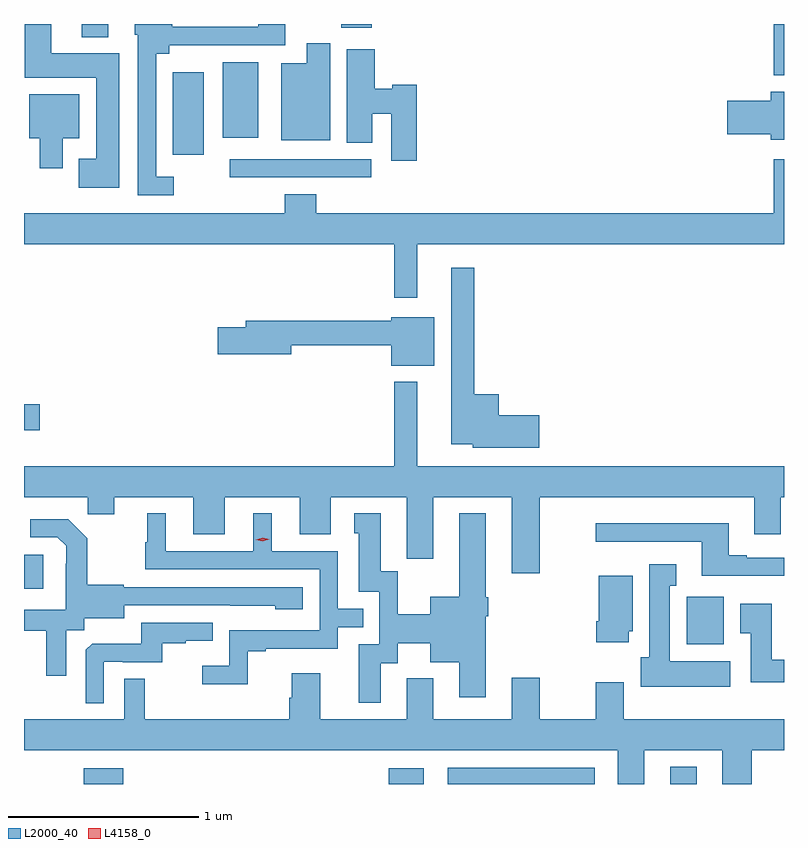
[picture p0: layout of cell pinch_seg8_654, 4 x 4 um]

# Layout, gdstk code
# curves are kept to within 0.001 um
import gdstk
lib = gdstk.Library(unit=1e-6, precision=1e-09)
def R(c, l, rs):  # rectangles x0, y0, x1, y1
    for r in rs: c.add(gdstk.rectangle(r[:2], r[2:], *l))
def P(c, l, *ps):  # polygons
    for p in ps: c.add(gdstk.Polygon(p, *l))
L2000_40 = (2000, 40)
L4158_0 = (4158, 0)

pinch_seg8_654 = lib.new_cell('pinch_seg8_654')
R(pinch_seg8_654, L2000_40, [(336.903,1117.655,337.112,1117.737), (338.51,1117.655,338.692,1117.738), (338.82,1117.655,339.592,1117.74), (339.989,1117.655,340.129,1117.747), (340.077,1118.39,340.273,1118.64), (336.589,1118.682,336.691,1118.862), (336.589,1119.518,336.673,1119.653), (337.671,1120.848,338.416,1120.944), (337.373,1120.968,337.534,1121.401), (337.634,1121.057,337.822,1121.455), (340.536,1121.384,340.589,1121.655), (336.893,1121.585,337.033,1121.655), (338.26,1121.634,338.42,1121.655)])
P(pinch_seg8_654, L2000_40, [(337.09,1121.5),(336.733,1121.5),(336.733,1121.655),(336.593,1121.655),(336.593,1121.372),(336.968,1121.372),(336.968,1120.945),(336.878,1120.945),(336.878,1120.793),(337.09,1120.793)],
  [(337.378,1120.851),(337.284,1120.851),(337.284,1121.498),(337.354,1121.498),(337.354,1121.544),(337.963,1121.544),(337.963,1121.655),(337.823,1121.655),(337.823,1121.64),(337.369,1121.64),(337.369,1121.655),(337.172,1121.655),(337.172,1121.598),(337.188,1121.598),(337.188,1120.755),(337.378,1120.755)],
  [(338.2,1121.554),(338.078,1121.554),(338.078,1121.449),(337.943,1121.449),(337.943,1121.042),(338.2,1121.042)],
  [(338.657,1121.336),(338.526,1121.336),(338.526,1121.313),(338.435,1121.313),(338.435,1121.521),(338.288,1121.521),(338.288,1121.029),(338.422,1121.029),(338.422,1121.183),(338.522,1121.183),(338.522,1120.935),(338.657,1120.935)],
  [(340.589,1121.299),(340.52,1121.299),(340.52,1121.252),(340.29,1121.252),(340.29,1121.074),(340.52,1121.074),(340.52,1121.045),(340.589,1121.045)],
  [(336.793,1121.054),(336.88,1121.054),(336.88,1121.284),(336.617,1121.284),(336.617,1121.054),(336.671,1121.054),(336.671,1120.896),(336.793,1120.896)],
  [(338.659,1120.496),(340.589,1120.496),(340.589,1120.942),(340.536,1120.942),(340.536,1120.66),(338.126,1120.66),(338.126,1120.759),(337.961,1120.759),(337.961,1120.66),(336.589,1120.66),(336.589,1120.496),(338.538,1120.496),(338.538,1120.215),(338.659,1120.215)],
  [(339.301,1119.596),(339.088,1119.596),(339.088,1119.706),(338.959,1119.706),(338.959,1120.372),(338.837,1120.372),(338.837,1119.443),(338.952,1119.443),(338.952,1119.425),(339.301,1119.425)],
  [(338.749,1120.111),(338.522,1120.111),(338.522,1120.093),(337.757,1120.093),(337.757,1120.059),(337.608,1120.059),(337.608,1119.917),(337.996,1119.917),(337.996,1119.964),(338.522,1119.964),(338.522,1119.857),(338.749,1119.857)],
  [(339.303,1119.164),(340.433,1119.164),(340.433,1118.97),(340.573,1118.97),(340.573,1119.164),(340.589,1119.164),(340.589,1119.328),(338.659,1119.328),(338.659,1119.772),(338.538,1119.772),(338.538,1119.328),(336.589,1119.328),(336.589,1119.164),(336.925,1119.164),(336.925,1119.074),(337.063,1119.074),(337.063,1119.164),(337.481,1119.164),(337.481,1118.97),(337.645,1118.97),(337.645,1119.164),(338.039,1119.164),(338.039,1118.97),(338.203,1118.97),(338.203,1119.164),(338.603,1119.164),(338.603,1118.953),(338.604,1118.953),(338.604,1118.841),(338.743,1118.841),(338.743,1119.164),(339.155,1119.164),(339.155,1118.763),(339.303,1118.763)],
  [(338.467,1118.29),(338.557,1118.29),(338.557,1118.396),(338.726,1118.396),(338.726,1118.297),(338.879,1118.297),(338.879,1118.112),(339.019,1118.112),(339.019,1118.537),(339.032,1118.537),(339.032,1118.637),(339.019,1118.637),(339.019,1119.079),(338.879,1119.079),(338.879,1118.641),(338.726,1118.641),(338.726,1118.548),(338.556,1118.548),(338.556,1118.775),(338.467,1118.775),(338.467,1119.079),(338.327,1119.079),(338.327,1118.976),(338.351,1118.976),(338.351,1118.667),(338.46,1118.667),(338.46,1118.391),(338.351,1118.391),(338.351,1118.082),(338.467,1118.082)],
  [(337.767,1118.355),(337.861,1118.355),(337.861,1118.367),(338.241,1118.367),(338.241,1118.481),(338.375,1118.481),(338.375,1118.577),(338.241,1118.577),(338.241,1118.88),(337.894,1118.88),(337.894,1119.079),(337.796,1119.079),(337.796,1118.88),(337.336,1118.88),(337.336,1119.079),(337.238,1119.079),(337.238,1118.928),(337.227,1118.928),(337.227,1118.784),(338.145,1118.784),(338.145,1118.463),(337.668,1118.463),(337.668,1118.278),(337.527,1118.278),(337.527,1118.18),(337.767,1118.18)],
  [(336.811,1118.464),(336.906,1118.464),(336.906,1118.528),(337.117,1118.528),(337.117,1118.595),(337.911,1118.594),(337.911,1118.576),(338.056,1118.576),(338.056,1118.691),(337.113,1118.691),(337.113,1118.704),(336.921,1118.704),(336.921,1118.949),(336.821,1119.049),(336.621,1119.049),(336.621,1118.955),(336.765,1118.955),(336.812,1118.908),(336.812,1118.813),(336.81,1118.813),(336.81,1118.572),(336.589,1118.572),(336.589,1118.462),(336.707,1118.462),(336.707,1118.226),(336.811,1118.226)],
  [(340.589,1118.847),(340.393,1118.847),(340.393,1118.86),(340.297,1118.86),(340.297,1119.028),(339.597,1119.028),(339.597,1118.931),(340.157,1118.931),(340.157,1118.75),(340.589,1118.75)],
  [(340.306,1118.302),(339.988,1118.302),(339.988,1118.699),(340.021,1118.699),(340.021,1118.812),(339.881,1118.812),(339.881,1118.322),(339.836,1118.322),(339.836,1118.168),(340.306,1118.168)],
  [(339.772,1118.46),(339.793,1118.46),(339.793,1118.752),(339.614,1118.752),(339.614,1118.512),(339.602,1118.512),(339.602,1118.4),(339.772,1118.4)],
  [(340.589,1118.308),(340.525,1118.308),(340.525,1118.605),(340.358,1118.605),(340.358,1118.449),(340.415,1118.449),(340.415,1118.19),(340.589,1118.19)],
  [(337.008,1118.298),(337.108,1118.298),(337.108,1118.295),(337.316,1118.295),(337.316,1118.397),(337.439,1118.397),(337.439,1118.408),(337.583,1118.408),(337.583,1118.505),(337.206,1118.505),(337.206,1118.393),(336.947,1118.393),(336.915,1118.361),(336.915,1118.081),(337.008,1118.081)],
  [(339.853,1117.832),(340.265,1117.832),(340.265,1117.655),(340.418,1117.655),(340.418,1117.832),(340.589,1117.832),(340.589,1117.996),(339.745,1117.996),(339.745,1118.191),(339.598,1118.191),(339.598,1117.996),(339.303,1117.996),(339.303,1118.215),(339.155,1118.215),(339.155,1117.996),(338.743,1117.996),(338.743,1118.212),(338.603,1118.212),(338.603,1117.996),(338.149,1117.996),(338.149,1118.239),(337.997,1118.239),(337.997,1118.109),(337.985,1118.109),(337.985,1117.996),(337.225,1117.996),(337.225,1118.21),(337.116,1118.21),(337.116,1117.996),(336.589,1117.996),(336.589,1117.832),(339.713,1117.832),(339.713,1117.655),(339.853,1117.655)])
P(pinch_seg8_654, L4158_0, [(337.845,1118.932),(337.81,1118.941),(337.809,1118.941),(337.81,1118.941),(337.845,1118.952),(337.88,1118.943),(337.881,1118.942),(337.88,1118.942)])

lib.write_gds('pinch_seg8_654.gds')
